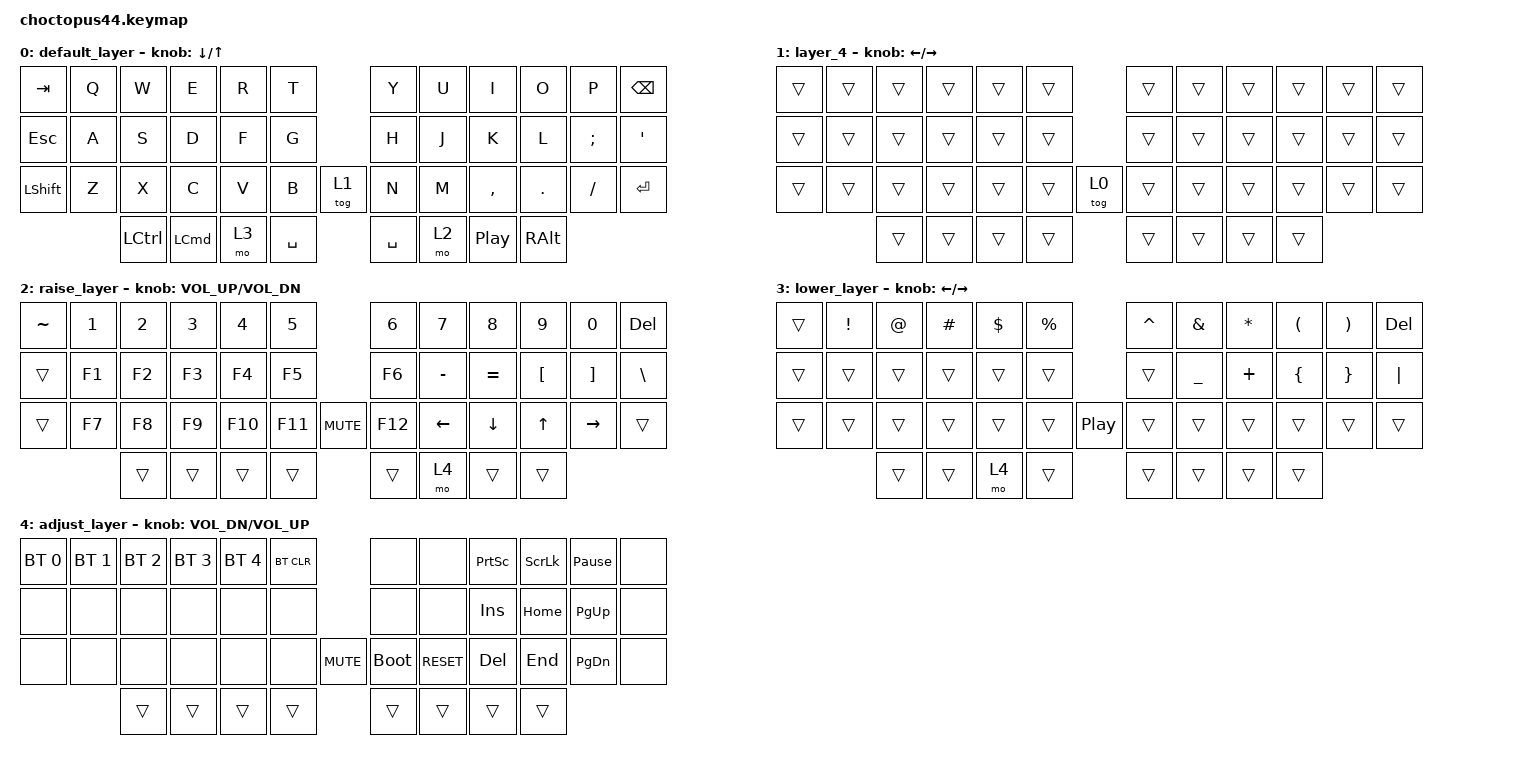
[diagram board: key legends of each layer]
/*
 * Copyright (c) 2021 The ZMK Contributors
 *
 * SPDX-License-Identifier: MIT
 */

#include <behaviors.dtsi>
#include <dt-bindings/zmk/bt.h>
#include <dt-bindings/zmk/keys.h>

&mt { tapping-term-ms = <400>; };

/ {
    keymap {
        compatible = "zmk,keymap";

        default_layer {
            bindings = <
&kp TAB    &kp Q  &kp W      &kp E     &kp R  &kp T              &kp Y      &kp U  &kp I             &kp O     &kp P     &kp BACKSPACE
&kp ESC    &kp A  &kp S      &kp D     &kp F  &kp G              &kp H      &kp J  &kp K             &kp L     &kp SEMI  &kp SQT
&kp LSHFT  &kp Z  &kp X      &kp C     &kp V  &kp B      &tog 1  &kp N      &kp M  &kp COMMA         &kp DOT   &kp FSLH  &kp ENTER
                  &kp LCTRL  &kp LCMD  &mo 3  &kp SPACE          &kp SPACE  &mo 2  &kp C_PLAY_PAUSE  &kp RALT
            >;

            sensor-bindings = <&inc_dec_kp DOWN UP>;
        };

        layer_4 {
            bindings = <
&trans  &trans  &trans  &trans  &trans  &trans          &trans  &trans  &trans  &trans  &trans  &trans
&trans  &trans  &trans  &trans  &trans  &trans          &trans  &trans  &trans  &trans  &trans  &trans
&trans  &trans  &trans  &trans  &trans  &trans  &tog 0  &trans  &trans  &trans  &trans  &trans  &trans
                &trans  &trans  &trans  &trans          &trans  &trans  &trans  &trans
            >;

            sensor-bindings = <&inc_dec_kp LEFT RIGHT>;
        };

        raise_layer {
            bindings = <
&kp TILDE  &kp NUMBER_1  &kp NUMBER_2  &kp NUMBER_3  &kp NUMBER_4  &kp N5               &kp NUMBER_6  &kp N7          &kp N8     &kp N9            &kp N0             &kp DEL
&trans     &kp F1        &kp F2        &kp F3        &kp F4        &kp F5               &kp F6        &kp MINUS       &kp EQUAL  &kp LEFT_BRACKET  &kp RIGHT_BRACKET  &kp BSLH
&trans     &kp F7        &kp F8        &kp F9        &kp F10       &kp F11  &kp C_MUTE  &kp F12       &kp LEFT        &kp DOWN   &kp UP            &kp RIGHT          &trans
                         &trans        &trans        &trans        &trans               &trans        &mo 4           &trans     &trans
            >;

            sensor-bindings = <&inc_dec_kp C_VOL_UP C_VOL_DN>;
        };

        lower_layer {
            bindings = <
&trans  &kp EXCLAMATION  &kp AT_SIGN  &kp HASH  &kp DOLLAR  &kp PERCENT                    &kp CARET  &kp AMPERSAND   &kp ASTERISK  &kp LEFT_PARENTHESIS  &kp RIGHT_PARENTHESIS  &kp DEL
&trans  &trans           &trans       &trans    &trans      &trans                         &trans     &kp UNDERSCORE  &kp PLUS      &kp LEFT_BRACE        &kp RIGHT_BRACE        &kp PIPE
&trans  &trans           &trans       &trans    &trans      &trans       &kp C_PLAY_PAUSE  &trans     &trans          &trans        &trans                &trans                 &trans
                         &trans       &trans    &mo 4       &trans                         &trans     &trans          &trans        &trans
            >;

            sensor-bindings = <&inc_dec_kp LEFT RIGHT>;
        };

        adjust_layer {
            bindings = <
&bt BT_SEL 0  &bt BT_SEL 1  &bt BT_SEL 2  &bt BT_SEL 3  &bt BT_SEL 4  &bt BT_CLR              &none        &none        &kp PSCRN   &kp SLCK  &kp PAUSE_BREAK  &none
&none         &none         &none         &none         &none         &none                   &none        &none        &kp INSERT  &kp HOME  &kp PG_UP        &none
&none         &none         &none         &none         &none         &none       &kp C_MUTE  &bootloader  &kp C_RESET  &kp DEL     &kp END   &kp PG_DN        &none
                            &trans        &trans        &trans        &trans                  &trans       &trans       &trans      &trans
            >;

            sensor-bindings = <&inc_dec_kp C_VOL_DN C_VOL_UP>;
        };
    };
};
